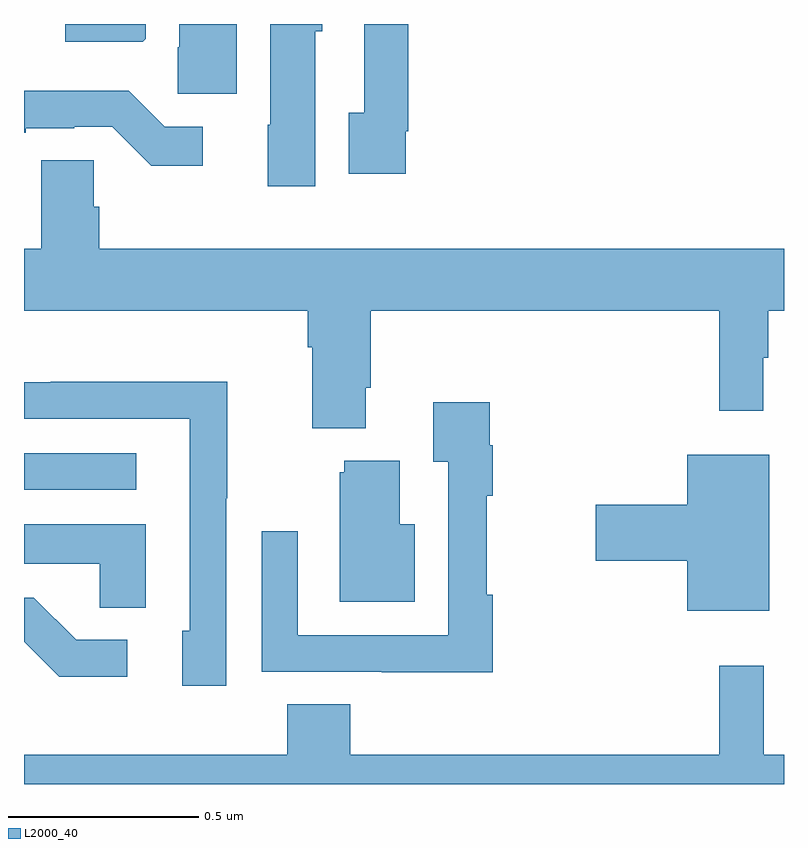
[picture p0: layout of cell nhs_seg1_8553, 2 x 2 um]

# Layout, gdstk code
import gdstk
lib = gdstk.Library(unit=1e-6, precision=1e-09)
def R(c, l, rs):  # rectangles x0, y0, x1, y1
    for r in rs: c.add(gdstk.rectangle(r[:2], r[2:], *l))
def P(c, l, *ps):  # polygons
    for p in ps: c.add(gdstk.Polygon(p, *l))
L2000_40 = (2000, 40)

nhs_seg1_8553 = lib.new_cell('nhs_seg1_8553')
R(nhs_seg1_8553, L2000_40, [(218,505.974,218.296,506.07)])
P(nhs_seg1_8553, L2000_40, [(218.56,507.199),(218.408,507.199),(218.408,507.138),(218.404,507.138),(218.404,507.015),(218.56,507.015)],
  [(219.004,506.917),(219.011,506.917),(219.011,507.199),(218.895,507.199),(218.895,506.966),(218.855,506.966),(218.855,506.805),(219.004,506.805)],
  [(218.32,507.16),(218.32,507.199),(218.108,507.199),(218.108,507.152),(218.312,507.152)],
  [(218.767,507.18),(218.785,507.18),(218.785,507.199),(218.648,507.199),(218.648,506.934),(218.642,506.934),(218.642,506.772),(218.767,506.772)],
  [(218.47,506.928),(218.37,506.928),(218.275,507.023),(218,507.023),(218,506.913),(218.005,506.913),(218.005,506.925),(218.132,506.925),(218.132,506.928),(218.232,506.928),(218.335,506.826),(218.47,506.826)],
  [(218.899,506.242),(218.912,506.242),(218.912,506.444),(219.829,506.444),(219.829,506.181),(219.946,506.181),(219.946,506.321),(219.958,506.321),(219.958,506.444),(220,506.444),(220,506.608),(218.198,506.608),(218.198,506.718),(218.184,506.718),(218.184,506.84),(218.045,506.84),(218.045,506.608),(218,506.608),(218,506.444),(218.747,506.444),(218.747,506.348),(218.759,506.348),(218.759,506.135),(218.899,506.135)],
  [(218.532,505.951),(218.535,505.951),(218.535,506.258),(218.071,506.258),(218.071,506.256),(218,506.256),(218,506.16),(218.436,506.16),(218.436,505.602),(218.417,505.602),(218.417,505.458),(218.532,505.458)],
  [(219.233,505.697),(219.218,505.697),(219.218,505.958),(219.233,505.958),(219.233,506.09),(219.226,506.09),(219.226,506.203),(219.077,506.203),(219.077,506.047),(219.117,506.047),(219.117,505.59),(218.721,505.59),(218.721,505.864),(218.625,505.864),(218.625,505.494),(218.941,505.494),(218.941,505.493),(219.233,505.493)],
  [(219.961,506.065),(219.746,506.065),(219.746,505.934),(219.504,505.934),(219.504,505.787),(219.746,505.787),(219.746,505.655),(219.961,505.655)],
  [(219.028,505.882),(218.989,505.882),(218.989,506.05),(218.843,506.05),(218.843,506.019),(218.831,506.019),(218.831,505.679),(219.028,505.679)],
  [(218.32,505.882),(218,505.882),(218,505.778),(218.199,505.778),(218.199,505.663),(218.32,505.663)],
  [(218.272,505.578),(218.137,505.578),(218.026,505.689),(218,505.689),(218,505.573),(218.093,505.481),(218.272,505.481)],
  [(220,505.276),(219.947,505.276),(219.947,505.51),(219.829,505.51),(219.829,505.276),(218.858,505.276),(218.858,505.409),(218.693,505.409),(218.693,505.276),(218,505.276),(218,505.199),(220,505.199)])

lib.write_gds('nhs_seg1_8553.gds')
